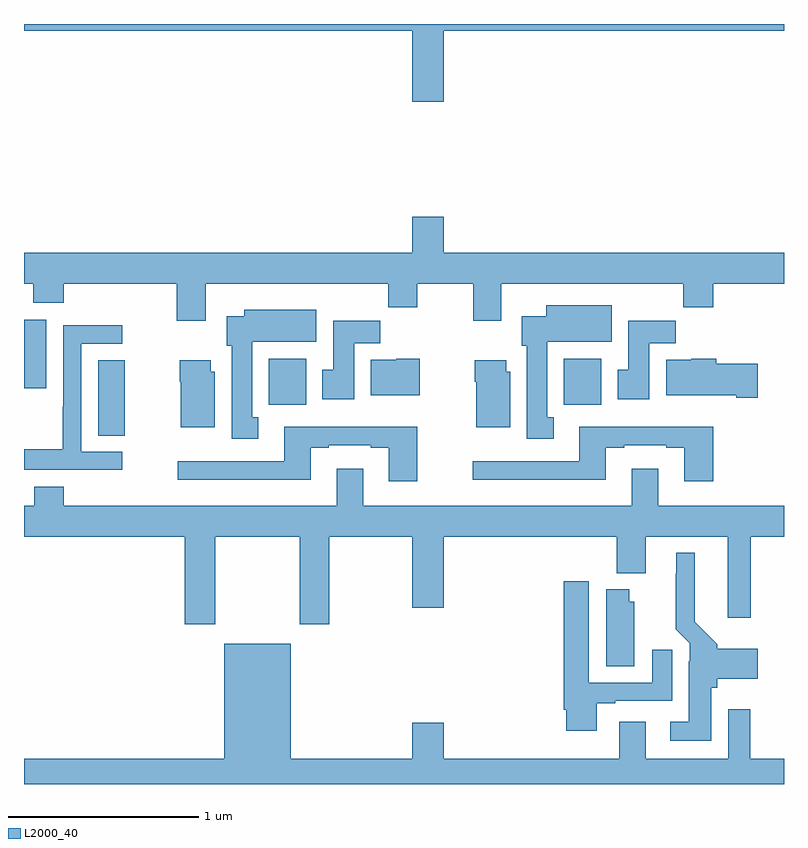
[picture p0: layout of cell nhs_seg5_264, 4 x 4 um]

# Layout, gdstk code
import gdstk
lib = gdstk.Library(unit=1e-6, precision=1e-09)
def R(c, l, rs):  # rectangles x0, y0, x1, y1
    for r in rs: c.add(gdstk.rectangle(r[:2], r[2:], *l))
def P(c, l, *ps):  # polygons
    for p in ps: c.add(gdstk.Polygon(p, *l))
L2000_40 = (2000, 40)

nhs_seg5_264 = lib.new_cell('nhs_seg5_264')
R(nhs_seg5_264, L2000_40, [(127.391,850.633,127.53,851.03), (128.288,850.796,128.485,851.038), (129.842,850.796,130.039,851.038), (127,850.881,127.117,851.242)])
P(nhs_seg5_264, L2000_40, [(127,852.764),(129.044,852.764),(129.044,852.39),(129.208,852.39),(129.208,852.764),(131,852.764),(131,852.799),(127,852.799)],
  [(127.957,851.432),(128.917,851.432),(128.917,851.308),(129.069,851.308),(129.069,851.432),(129.364,851.432),(129.364,851.238),(129.511,851.238),(129.511,851.432),(130.471,851.432),(130.471,851.308),(130.628,851.308),(130.628,851.432),(131,851.432),(131,851.596),(129.208,851.596),(129.208,851.785),(129.044,851.785),(129.044,851.596),(127,851.596),(127,851.432),(127.048,851.432),(127.048,851.333),(127.208,851.333),(127.208,851.432),(127.805,851.432),(127.805,851.238),(127.957,851.238)],
  [(129.787,850.73),(129.754,850.73),(129.754,851.126),(130.093,851.126),(130.093,851.32),(129.749,851.32),(129.749,851.26),(129.62,851.26),(129.62,851.106),(129.647,851.106),(129.647,850.617),(129.787,850.617)],
  [(128.233,850.73),(128.2,850.73),(128.2,851.126),(128.539,851.126),(128.539,851.296),(128.159,851.296),(128.159,851.26),(128.066,851.26),(128.066,851.106),(128.093,851.106),(128.093,850.617),(128.233,850.617)],
  [(128.737,851.12),(128.876,851.12),(128.876,851.238),(128.627,851.238),(128.627,850.98),(128.57,850.98),(128.57,850.824),(128.737,850.824)],
  [(130.291,851.12),(130.43,851.12),(130.43,851.238),(130.181,851.238),(130.181,850.98),(130.124,850.98),(130.124,850.824),(130.291,850.824)],
  [(127.516,850.548),(127.302,850.548),(127.302,851.115),(127.516,851.115),(127.516,851.214),(127.206,851.214),(127.206,850.784),(127.204,850.784),(127.204,850.561),(127,850.561),(127,850.452),(127.516,850.452)],
  [(130.861,851.01),(130.643,851.01),(130.643,851.038),(130.512,851.038),(130.512,851.032),(130.379,851.032),(130.379,850.844),(130.748,850.844),(130.748,850.832),(130.861,850.832)],
  [(129.084,851.038),(128.958,851.038),(128.958,851.032),(128.825,851.032),(128.825,850.844),(129.084,850.844)],
  [(128.005,850.968),(127.984,850.968),(127.984,851.029),(127.819,851.029),(127.819,850.916),(127.826,850.916),(127.826,850.676),(128.005,850.676)],
  [(129.559,850.968),(129.538,850.968),(129.538,851.029),(129.373,851.029),(129.373,850.916),(129.38,850.916),(129.38,850.676),(129.559,850.676)],
  [(129.069,850.678),(128.369,850.678),(128.369,850.497),(127.809,850.497),(127.809,850.4),(128.509,850.4),(128.509,850.569),(128.605,850.569),(128.605,850.581),(128.825,850.581),(128.825,850.569),(128.921,850.569),(128.921,850.392),(129.069,850.392)],
  [(130.628,850.678),(129.923,850.678),(129.923,850.497),(129.363,850.497),(129.363,850.4),(130.063,850.4),(130.063,850.569),(130.159,850.569),(130.159,850.581),(130.379,850.581),(130.379,850.569),(130.475,850.569),(130.475,850.392),(130.628,850.392)],
  [(127.055,850.363),(127.055,850.264),(127,850.264),(127,850.1),(127.847,850.1),(127.847,849.639),(128.007,849.639),(128.007,850.1),(128.452,850.1),(128.452,849.639),(128.607,849.639),(128.607,850.1),(129.044,850.1),(129.044,849.726),(129.208,849.726),(129.208,850.1),(130.121,850.1),(130.121,849.908),(130.273,849.908),(130.273,850.1),(130.703,850.1),(130.703,849.675),(130.826,849.675),(130.826,850.1),(131,850.1),(131,850.264),(130.339,850.264),(130.339,850.459),(130.199,850.459),(130.199,850.264),(128.785,850.264),(128.785,850.459),(128.645,850.459),(128.645,850.264),(127.208,850.264),(127.208,850.363)],
  [(130.618,849.306),(130.649,849.306),(130.649,849.353),(130.861,849.353),(130.861,849.511),(130.649,849.511),(130.649,849.534),(130.531,849.652),(130.531,850.015),(130.433,850.015),(130.433,849.905),(130.429,849.905),(130.429,849.614),(130.503,849.54),(130.503,849.446),(130.499,849.446),(130.499,849.127),(130.401,849.127),(130.401,849.026),(130.618,849.026)],
  [(130.015,849.225),(130.111,849.225),(130.111,849.237),(130.411,849.237),(130.411,849.505),(130.307,849.505),(130.307,849.333),(129.973,849.333),(129.973,849.865),(129.842,849.865),(129.842,849.19),(129.854,849.19),(129.854,849.078),(130.015,849.078)],
  [(130.213,849.759),(130.186,849.759),(130.186,849.823),(130.064,849.823),(130.064,849.418),(130.213,849.418)],
  [(130.707,849.193),(130.707,848.932),(130.273,848.932),(130.273,849.127),(130.133,849.127),(130.133,848.932),(129.208,848.932),(129.208,849.121),(129.044,849.121),(129.044,848.932),(128.404,848.932),(128.404,849.538),(128.054,849.538),(128.054,848.932),(127,848.932),(127,848.799),(131,848.799),(131,848.932),(130.823,848.932),(130.823,849.193)])

lib.write_gds('nhs_seg5_264.gds')
